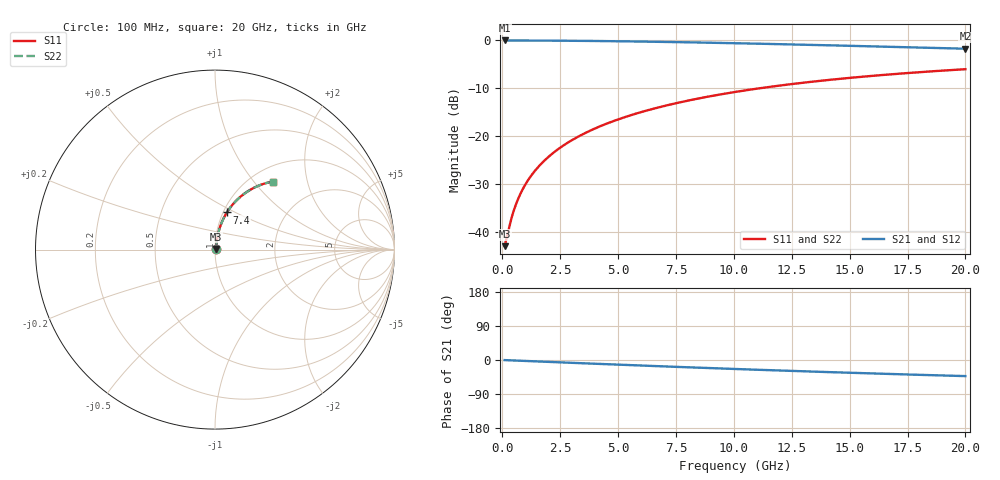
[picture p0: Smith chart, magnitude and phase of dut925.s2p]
! Touchstone file exported from HFSS 2024.1.0
!  File:  C:/UserFiles/LocalFiles/RDL_TSV_Batchsim/temp_RDL_bottom_925_1779941088.aedt
!  Generated:  12:07:25 PM May 28, 2026
!  Design:  RDL_bottom
!  Project:  temp_RDL_bottom_925_1779941088
!  Setup:  Setup1
!  Solution:  Sweep
! Variables:
!  dtsv = 10.80580581um
!  hbump = 3um
!  htsv = 74.61um
!  ldown = 526.35um
!  lrdl = 100um
!  p = 40
!  p1 = 47.45um
!  rhole = 1um
!  t = 450um
!  tdown = 2.78um
!  trdl = 3.915915916um
!  wdown = 10.51um
!  wrdl = 20um
# GHz S MA R 50.000000
! Terminal data exported
! Port[1] = RDL1_T1
! Port[2] = RDL1_T2
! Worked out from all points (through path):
!   200 points, 100 MHz to 20 GHz, reference 50 ohm
!   highest |S21| = -0.06 dB at 100 MHz (marker M1); lowest = -1.8 dB at 20 GHz (marker M2)
!   group delay of S21, straight-line fit = 5.92 ps
!   lowest |S11| = -42.9 dB at 100 MHz (marker M3), VSWR 1.01, Z = 50.6 + j0.315 ohm
!   |S11| at or under -10 dB: start of sweep to 11.15 GHz
!   |S22| runs from -42.9 to -6.0 dB; largest |S21 - S12| = 2.7e-15
!   S11 on the Smith chart (normalised r, x): 100 MHz: 1.01, +0.01; 7.4 GHz: 1.04, +0.45; 20 GHz: 1.25, +1.26
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0.1  0.007136 25.8  0.9936 -0.3  0.9936 -0.3  0.007136 25.8
! Gamma 0 0 0 0
! Port Impedance 50 0 50 0
0.3  0.0114 54.6  0.9934 -0.8  0.9934 -0.8  0.0114 54.6
0.4  0.01409 61.3  0.9933 -1.0  0.9933 -1.0  0.01409 61.3
0.5  0.0169 65.7  0.9932 -1.3  0.9932 -1.3  0.0169 65.7
0.6  0.01977 68.8  0.993 -1.5  0.993 -1.5  0.01977 68.8
0.7  0.02267 71.0  0.9928 -1.8  0.9928 -1.8  0.02267 71.0
0.9  0.02852 74.0  0.9924 -2.3  0.9924 -2.3  0.02852 74.0
1.2  0.03735 76.5  0.9918 -3.0  0.9918 -3.0  0.03735 76.5
1.4  0.04325 77.5  0.9914 -3.5  0.9914 -3.5  0.04325 77.5
1.7  0.05212 78.4  0.9906 -4.3  0.9906 -4.3  0.05212 78.4
2.2  0.06692 79.0  0.9891 -5.5  0.9891 -5.5  0.06693 79.0
2.8  0.0847 79.0  0.9869 -7.0  0.9869 -7.0  0.0847 79.0
3.5  0.1054 78.5  0.9837 -8.7  0.9837 -8.7  0.1054 78.5
4.2  0.126 77.6  0.9799 -10.4  0.9799 -10.4  0.126 77.6
5  0.1493 76.5  0.9749 -12.3  0.9749 -12.3  0.1493 76.5
6.8  0.2008 73.3  0.9613 -16.5  0.9613 -16.5  0.2008 73.3
7.4  0.2176 72.2  0.9561 -17.9  0.9561 -17.9  0.2176 72.2
8.7  0.2531 69.8  0.9439 -20.8  0.9439 -20.8  0.2531 69.8
10.1  0.2898 67.1  0.9296 -23.8  0.9296 -23.8  0.2898 67.1
13.4  0.3697 60.9  0.8928 -30.6  0.8928 -30.6  0.3697 60.9
16.7  0.4393 55.0  0.8538 -36.8  0.8538 -36.8  0.4393 55.0
20  0.4986 49.5  0.815 -42.5  0.815 -42.5  0.4986 49.5
